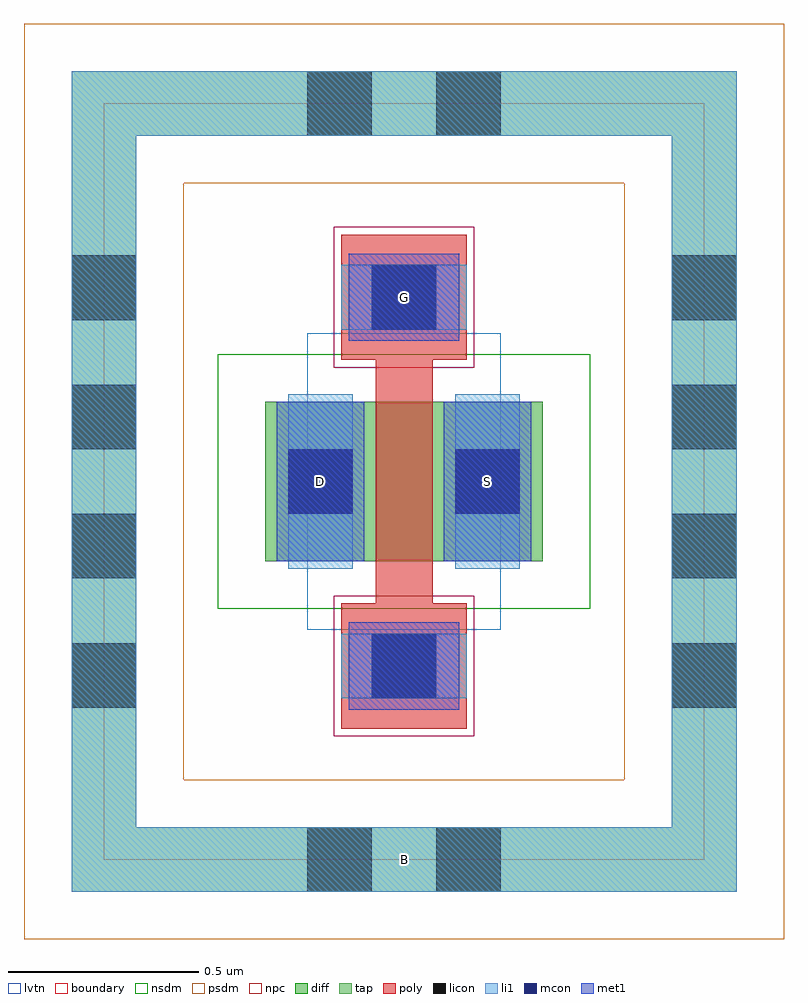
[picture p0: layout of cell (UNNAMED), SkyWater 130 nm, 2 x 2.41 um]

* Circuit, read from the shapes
.subckt (UNNAMED) B D G S
XM1 S G D B sky130_fd_pr__nfet_01v8_lvt w=0.42 l=0.15
.ends

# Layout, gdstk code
import gdstk
lib = gdstk.Library(unit=1e-6, precision=1e-09)
def R(c, l, rs):  # rectangles x0, y0, x1, y1
    for r in rs: c.add(gdstk.rectangle(r[:2], r[2:], *l))
def A(c, l, x, y, w, h, nx, ny, dx, dy):  # array of equal rectangles
    R(c, l, [(x+i*dx, y+j*dy, x+i*dx+w, y+j*dy+h) for i in range(nx) for j in range(ny)])
diff = (65, 20)
tap = (65, 44)
poly = (66, 20)
licon = (66, 44)
li1 = (67, 20)
mcon = (67, 44)
met1 = (68, 20)
nsdm = (93, 44)
psdm = (94, 20)
npc = (95, 20)
lvtn = (125, 44)
boundary = (235, 4)

c__unnamed_ = lib.new_cell('(UNNAMED)')
R(c__unnamed_, diff, [(-0.365,-0.21,0.365,0.21)])
R(c__unnamed_, tap, [(-0.875,-1.08,0.875,-0.91), (-0.875,-0.91,-0.705,0.91), (0.705,-0.91,0.875,0.91), (-0.875,0.91,0.875,1.08)])
R(c__unnamed_, poly, [(-0.165,-0.65,0.165,-0.32), (-0.075,-0.32,0.075,0.32), (-0.165,0.32,0.165,0.65)])
A(c__unnamed_, licon, -0.875, -0.595, 0.17, 0.17, 1, 4, 0, 0.34)
A(c__unnamed_, licon, 0.705, -0.595, 0.17, 0.17, 1, 4, 0, 0.34)
R(c__unnamed_, licon, [(-0.255,-1.08,-0.085,-0.91), (0.085,-1.08,0.255,-0.91), (-0.085,-0.57,0.085,-0.4), (-0.305,-0.085,-0.135,0.085), (0.135,-0.085,0.305,0.085), (-0.085,0.4,0.085,0.57), (-0.255,0.91,-0.085,1.08), (0.085,0.91,0.255,1.08)])
R(c__unnamed_, li1, [(-0.875,-1.08,0.875,-0.91), (-0.875,-0.91,-0.705,0.91), (0.705,-0.91,0.875,0.91), (-0.165,-0.57,0.165,-0.4), (-0.305,-0.23,-0.135,0.23), (0.135,-0.23,0.305,0.23), (-0.165,0.4,0.165,0.57), (-0.875,0.91,0.875,1.08)])
R(c__unnamed_, mcon, [(-0.085,-0.57,0.085,-0.4), (-0.305,-0.085,-0.135,0.085), (0.135,-0.085,0.305,0.085), (-0.085,0.4,0.085,0.57)])
R(c__unnamed_, met1, [(-0.145,-0.6,0.145,-0.37), (-0.335,-0.21,-0.105,0.21), (0.105,-0.21,0.335,0.21), (-0.145,0.37,0.145,0.6)])
R(c__unnamed_, nsdm, [(-0.49,-0.335,0.49,0.335)])
R(c__unnamed_, psdm, [(-1,-1.205,1,-0.785), (-1,-0.785,-0.58,0.785), (0.58,-0.785,1,0.785), (-1,0.785,1,1.205)])
R(c__unnamed_, npc, [(-0.185,-0.67,0.185,-0.3), (-0.185,0.3,0.185,0.67)])
R(c__unnamed_, lvtn, [(-0.255,-0.39,0.255,0.39)])
R(c__unnamed_, boundary, [(-0.79,-0.995,0.79,0.995)])
c__unnamed_.add(gdstk.Label('B', (0,-0.995), layer=67, texttype=5))
c__unnamed_.add(gdstk.Label('D', (-0.22,0), layer=67, texttype=5))
c__unnamed_.add(gdstk.Label('S', (0.22,0), layer=67, texttype=5))
c__unnamed_.add(gdstk.Label('G', (0,0.485), layer=67, texttype=5))

lib.write_gds('_UNNAMED_.gds')
